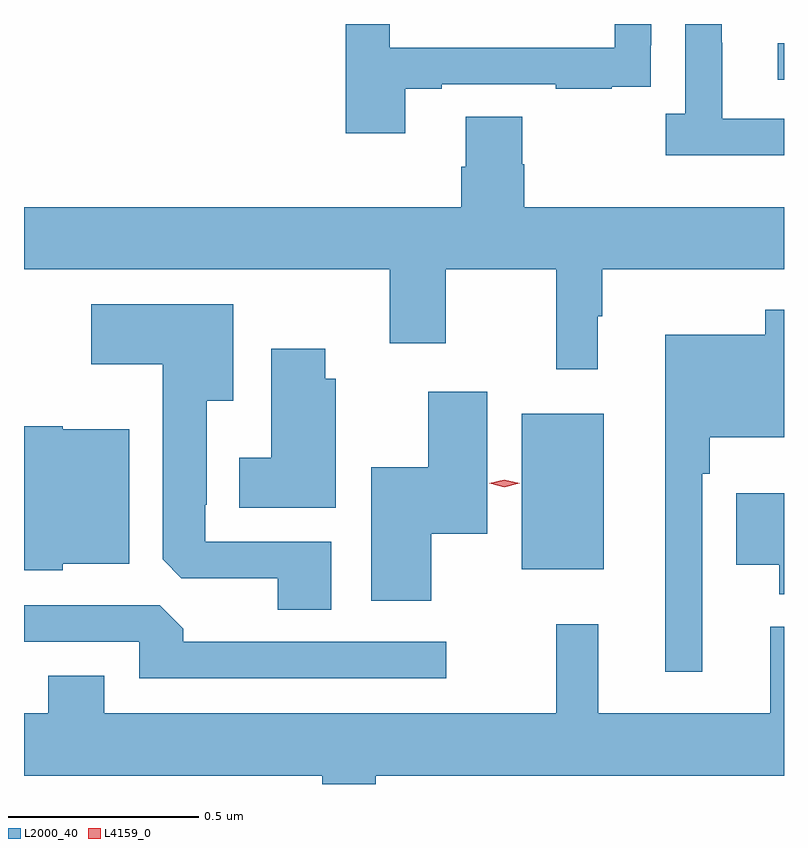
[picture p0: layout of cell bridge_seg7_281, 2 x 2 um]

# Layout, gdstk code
import gdstk
lib = gdstk.Library(unit=1e-6, precision=1e-09)
def R(c, l, rs):  # rectangles x0, y0, x1, y1
    for r in rs: c.add(gdstk.rectangle(r[:2], r[2:], *l))
def P(c, l, *ps):  # polygons
    for p in ps: c.add(gdstk.Polygon(p, *l))
L2000_40 = (2000, 40)
L4159_0 = (4159, 0)

bridge_seg7_281 = lib.new_cell('bridge_seg7_281')
R(bridge_seg7_281, L2000_40, [(130.946,1078.415,131.161,1078.825), (131.619,1079.703,131.636,1079.799)])
P(bridge_seg7_281, L2000_40, [(130.639,1079.679),(130.735,1079.679),(130.735,1079.691),(131.035,1079.691),(131.035,1079.679),(131.183,1079.679),(131.183,1079.685),(131.285,1079.685),(131.285,1079.794),(131.286,1079.794),(131.286,1079.85),(131.19,1079.85),(131.19,1079.787),(130.599,1079.787),(130.599,1079.85),(130.483,1079.85),(130.483,1079.562),(130.639,1079.562)],
  [(131.636,1079.601),(131.473,1079.601),(131.473,1079.801),(131.472,1079.801),(131.472,1079.85),(131.376,1079.85),(131.376,1079.614),(131.325,1079.614),(131.325,1079.504),(131.636,1079.504)],
  [(130.952,1079.481),(130.947,1079.481),(130.947,1079.606),(130.799,1079.606),(130.799,1079.474),(130.787,1079.474),(130.787,1079.368),(129.636,1079.368),(129.636,1079.204),(130.598,1079.204),(130.598,1079.01),(130.746,1079.01),(130.746,1079.204),(131.037,1079.204),(131.037,1078.941),(131.146,1078.941),(131.146,1079.081),(131.158,1079.081),(131.158,1079.204),(131.636,1079.204),(131.636,1079.368),(130.952,1079.368)],
  [(130.444,1078.488),(130.113,1078.488),(130.113,1078.585),(130.117,1078.585),(130.117,1078.859),(130.186,1078.859),(130.186,1079.113),(129.813,1079.113),(129.813,1078.955),(130.001,1078.955),(130.001,1078.441),(130.05,1078.392),(130.304,1078.392),(130.304,1078.309),(130.444,1078.309)],
  [(131.421,1078.667),(131.441,1078.667),(131.441,1078.763),(131.636,1078.763),(131.636,1079.098),(131.586,1079.098),(131.586,1079.032),(131.324,1079.032),(131.324,1078.146),(131.421,1078.146)],
  [(130.456,1078.917),(130.429,1078.917),(130.429,1078.996),(130.286,1078.996),(130.286,1078.708),(130.202,1078.708),(130.202,1078.577),(130.456,1078.577)],
  [(130.708,1078.508),(130.855,1078.508),(130.855,1078.882),(130.7,1078.882),(130.7,1078.684),(130.55,1078.684),(130.55,1078.332),(130.708,1078.332)],
  [(129.738,1078.43),(129.913,1078.43),(129.913,1078.783),(129.738,1078.783),(129.738,1078.792),(129.636,1078.792),(129.636,1078.412),(129.738,1078.412)],
  [(131.636,1078.615),(131.51,1078.615),(131.51,1078.427),(131.624,1078.427),(131.624,1078.349),(131.636,1078.349)],
  [(130.747,1078.224),(130.055,1078.224),(130.055,1078.258),(129.993,1078.32),(129.636,1078.32),(129.636,1078.224),(129.939,1078.224),(129.939,1078.128),(130.747,1078.128)],
  [(130.561,1077.872),(131.636,1077.872),(131.636,1078.264),(131.6,1078.264),(131.6,1078.036),(131.147,1078.036),(131.147,1078.27),(131.037,1078.27),(131.037,1078.036),(129.847,1078.036),(129.847,1078.135),(129.7,1078.135),(129.7,1078.036),(129.636,1078.036),(129.636,1077.872),(130.421,1077.872),(130.421,1077.85),(130.561,1077.85)])
P(bridge_seg7_281, L4159_0, [(130.9,1078.631),(130.86,1078.641),(130.86,1078.641),(130.86,1078.641),(130.9,1078.651),(130.94,1078.641),(130.94,1078.641),(130.94,1078.641)])

lib.write_gds('bridge_seg7_281.gds')
